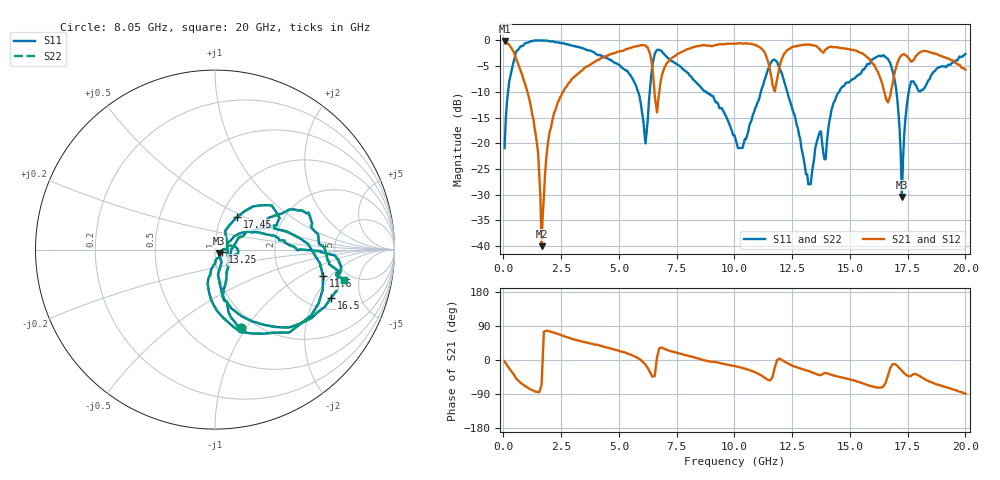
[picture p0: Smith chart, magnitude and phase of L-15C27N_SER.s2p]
# MHZ S MA R 50
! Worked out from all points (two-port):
!   400 points, 50 MHz to 20 GHz, reference 50 ohm
!   highest |S21| = -0.09 dB at 50 MHz (marker M1); lowest = -40.0 dB at 1.65 GHz (marker M2)
!   |S21| within 3 dB of the highest: 7.404 GHz to 11.38 GHz (3.974 GHz wide, 42.3 % of centre); 12.1 GHz to 15.7 GHz (3.597 GHz wide, 25.9 % of centre) (the widest 2 of 6)
!   lowest |S11| = -30.5 dB at 17.25 GHz (marker M3), VSWR 1.06, Z = 52.2 - j2.12 ohm
!   |S11| at or under -10 dB: 5.834 GHz to 6.333 GHz (498.8 MHz wide, 8.2 % of centre); 8.769 GHz to 11.14 GHz (2.375 GHz wide, 23.9 % of centre); 12.29 GHz to 14.53 GHz (2.242 GHz wide, 16.7 % of centre) (the widest 3 of 5)
!   |S22| runs from -30.5 to 0.0 dB; largest |S21 - S12| = 0
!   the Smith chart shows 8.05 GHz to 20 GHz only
!   S11 on the Smith chart (normalised r, x): 8.05 GHz: 0.85, -0.95; 11.6 GHz: 3.42, -1.64; 13.25 GHz: 1.08, -0.03; 16.5 GHz: 2.59, -2.73; 17.45 GHz: 1.19, +0.45; 20 GHz: 4.22, -3.17
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50  0.09 77.4  0.99 -3.8  0.99 -3.8  0.09 77.4
550  0.78 44.9  0.66 -49.0  0.66 -49.0  0.78 44.9
1300  0.99 11.4  0.17 -81.2  0.17 -81.2  0.99 11.4
1650  1 -0.4  0.01 -65.9  0.01 -65.9  1 -0.4
2000  0.98 -11.0  0.13 75.6  0.13 75.6  0.98 -11.0
3400  0.84 -41.8  0.51 48.9  0.51 48.9  0.84 -41.8
5500  0.46 -78.4  0.85 14.3  0.85 14.3  0.46 -78.4
6150  0.1 -42.9  0.89 -12.3  0.89 -12.3  0.1 -42.9
6700  0.81 -24.2  0.26 19.2  0.26 19.2  0.81 -24.2
8050  0.46 -71.7  0.83 10.1  0.83 10.1  0.46 -71.7
10050  0.11 -51.2  0.93 -16.6  0.93 -16.6  0.11 -51.2
11600  0.62 -13.8  0.44 -49.3  0.44 -49.3  0.62 -13.8
11950  0.54 -60.2  0.55 3.8  0.55 3.8  0.54 -60.2
13250  0.04 -18.3  0.91 -29.8  0.91 -29.8  0.04 -18.3
13350  0.05 0.9  0.9 -32.5  0.9 -32.5  0.05 0.9
14450  0.3 16.3  0.86 -43.6  0.86 -43.6  0.3 16.3
16500  0.7 -22.5  0.31 -64.7  0.31 -64.7  0.7 -22.5
16700  0.63 -40.7  0.27 -30.6  0.27 -30.6  0.63 -40.7
17050  0.27 -80.6  0.6 -15.4  0.6 -15.4  0.27 -80.6
17250  0.03 -42.6  0.72 -28.3  0.72 -28.3  0.03 -42.6
17450  0.22 55.9  0.71 -39.8  0.71 -39.8  0.22 55.9
20000  0.74 -13.3  0.52 -88.8  0.52 -88.8  0.74 -13.3
